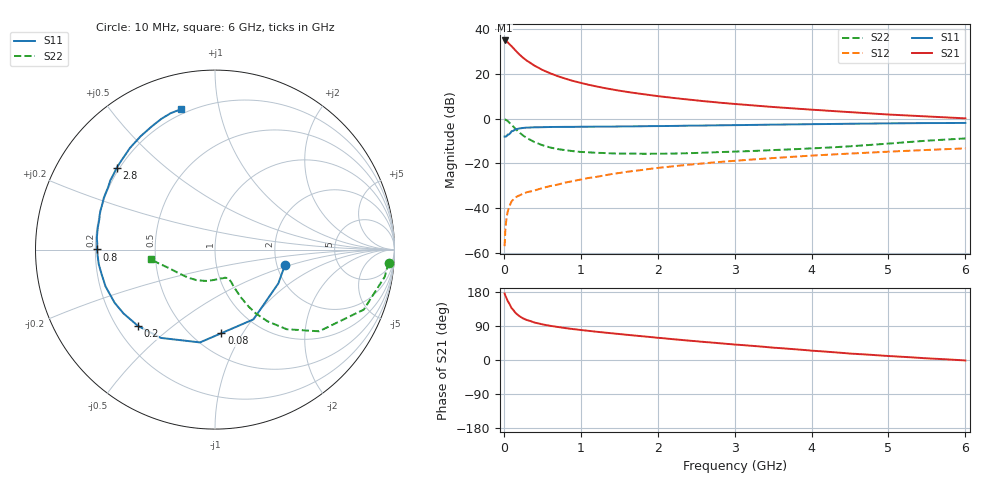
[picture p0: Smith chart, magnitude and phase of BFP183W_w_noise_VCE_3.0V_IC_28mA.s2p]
! Infineon Technologies  Discrete & RF Semiconductors
! BFP183W
! VCE =  3.0 V,  IC =  28 mA
! Common Emitter S-Parameters:  Jan 2017
# GHz  S  MA  R  50
!  f  S11  S21  S12  S22
! GHz  MAG  ANG  MAG  ANG  MAG  ANG  MAG  ANG
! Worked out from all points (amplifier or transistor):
!   77 points, 10 MHz to 6 GHz, reference 50 ohm
!   highest |S21| = 35.1 dB at 10 MHz (marker M1)
!   |S21| within 3 dB of that: start of sweep to 112.5 MHz
!   unconditionally stable (mu >= 1): 892.3 MHz to 3.479 GHz
!   at 130 MHz: K = 0.30, MSG = 33.7 dB, |S12| = -35.9 dB
!   at 2.2 GHz: K = 1.07, MAG = 13.7 dB, |S12| = -21.3 dB
!   at 6 GHz: K = 0.88, MSG = 6.7 dB, |S12| = -13.3 dB
!   lowest NFmin = 1.35 dB at 450 MHz
!   S11 on the Smith chart (normalised r, x): 10 MHz: 2.21, -0.46; 80 MHz: 0.68, -0.81; 200 MHz: 0.29, -0.38; 800 MHz: 0.21, +0.00; 2.8 GHz: 0.19, +0.35; 6 GHz: 0.17, +0.77
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0.01  0.3988 -12.8  56.57 175.5  0.0014 81.3  0.9696 -4.3
0.02  0.4 -28.1  55.91 169.7  0.0034 89.2  0.9576 -9.1
0.05  0.4439 -61.1  51.62 155.6  0.0083 69.3  0.8937 -22.0
0.08  0.4671 -85.6  45.42 145.3  0.0117 61.6  0.7921 -30.9
0.1  0.5239 -99.2  42.28 137.0  0.0141 58.6  0.7373 -38.1
0.15  0.5775 -121.6  33.98 124.7  0.0173 49.5  0.597 -48.0
0.2  0.6043 -135.4  27.72 116.0  0.0191 47.8  0.4949 -53.8
0.25  0.6216 -145.1  23.23 109.8  0.021 46.4  0.422 -57.4
0.3  0.6328 -152.0  19.85 105.4  0.0226 46.2  0.3677 -59.5
0.4  0.6435 -161.4  15.35 98.7  0.0247 48.0  0.2976 -61.7
0.5  0.6465 -167.8  12.42 94.1  0.028 50.5  0.2555 -62.6
0.6  0.6526 -172.7  10.46 90.3  0.031 52.7  0.2275 -63.2
0.7  0.6545 -176.6  8.99 87.2  0.0334 55.8  0.209 -63.3
0.8  0.6569 179.9  7.899 84.2  0.0372 57.8  0.1976 -63.7
1.1  0.6625 171.8  5.775 77.0  0.0471 60.3  0.177 -65.7
1.5  0.6708 163.3  4.25 68.6  0.0609 61.3  0.166 -70.9
2.1  0.6865 151.6  3.066 56.9  0.0825 60.6  0.1651 -84.2
2.8  0.7128 140.1  2.294 44.3  0.1075 57.9  0.179 -103.1
3.1  0.7217 135.6  2.076 39.4  0.1175 56.2  0.1859 -111.2
4.1  0.758 122.0  1.556 23.3  0.1525 50.2  0.2208 -136.9
5.1  0.7895 111.4  1.217 9.4  0.1862 43.8  0.2859 -160.1
6  0.8047 103.5  1.019 -1.2  0.2168 37.6  0.3618 -171.5
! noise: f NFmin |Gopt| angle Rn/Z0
0.45  1.35  0.26  179  0.09
0.9  1.38  0.29  -179  0.1
1.9  1.87  0.44  -157  0.1
2.4  2.12  0.49  -152  0.14
